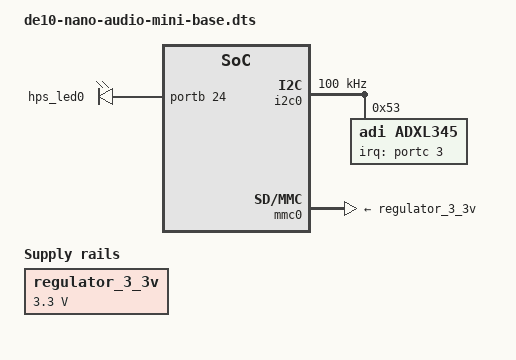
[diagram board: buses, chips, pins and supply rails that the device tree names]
/dts-v1/;

#include "socfpga_cyclone5_de10_nano.dtsi"

/ {
    aliases {
        serial0 = &uart0;
        i2c0 = &i2c0;
        mmc0 = &mmc0;
        usb0 = &usb1;
    };

    regulator_3_3v: 3-3-v-regulator {
        compatible = "regulator-fixed";
        regulator-name = "3.3V";
        regulator-min-microvolt = <3300000>;
        regulator-max-microvolt = <3300000>;
    };

    leds {
        compatible = "gpio-leds";
        hps0 {
            label = "hps_led0";
            gpios = <&portb 24 0>;
            linux,default-trigger = "heartbeat";
        };
    };
};

&gmac1 {
    txd0-skew-ps = <0>;
    txd1-skew-ps = <0>;
    txd2-skew-ps = <0>;
    txd3-skew-ps = <0>;
    max-frame-size = <3800>;
};

&i2c0 {
    status = "okay";
    clock-frequency = <100000>;
    #address-cells = <1>;
    #size-cells = <0>;
    adxl345: adxl345@53 {
        compatible = "adi,adxl345";
        reg = <0x53>;
        interrupt-parent = <&portc>;
        interrupts = <3 2>;
    };
};

&mmc0 {
    vmmc-supply = <&regulator_3_3v>;
    vqmmc-supply = <&regulator_3_3v>;
};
